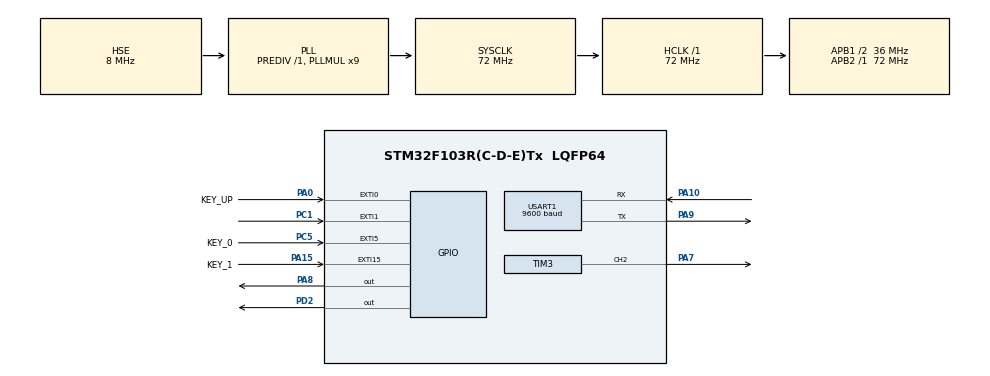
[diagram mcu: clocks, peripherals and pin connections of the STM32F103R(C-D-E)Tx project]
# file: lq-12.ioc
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Mcu.Family=STM32F1
Mcu.Name=STM32F103R(C-D-E)Tx
Mcu.Package=LQFP64
NVIC.EXTI0_IRQn=true\:1\:0\:true\:false\:true\:true\:true\:true
NVIC.EXTI15_10_IRQn=true\:1\:0\:true\:false\:true\:true\:true\:true
NVIC.EXTI1_IRQn=true\:1\:0\:true\:false\:true\:true\:true\:true
NVIC.EXTI9_5_IRQn=true\:1\:0\:true\:false\:true\:true\:true\:true
NVIC.PriorityGroup=NVIC_PRIORITYGROUP_4
NVIC.USART1_IRQn=true\:1\:0\:true\:false\:true\:true\:true\:true
PA0-WKUP.GPIO_Label=KEY_UP
PA0-WKUP.GPIO_PuPd=GPIO_PULLDOWN
PA0-WKUP.Signal=GPXTI0
PA10.Mode=Asynchronous
PA10.Signal=USART1_RX
PA13.Mode=Serial_Wire
PA13.Signal=SYS_JTMS-SWDIO
PA14.Mode=Serial_Wire
PA14.Signal=SYS_JTCK-SWCLK
PA15.GPIO_Label=KEY_1
PA15.GPIO_ModeDefaultEXTI=GPIO_MODE_IT_FALLING
PA15.GPIO_PuPd=GPIO_PULLUP
PA15.Signal=GPXTI15
PA7.Signal=S_TIM3_CH2
PA8.Signal=GPIO_Output
PA9.Mode=Asynchronous
PA9.Signal=USART1_TX
PC1.GPIO_ModeDefaultEXTI=GPIO_MODE_IT_FALLING
PC1.GPIO_PuPd=GPIO_PULLUP
PC1.Signal=GPXTI1
PC5.GPIO_Label=KEY_0
PC5.GPIO_ModeDefaultEXTI=GPIO_MODE_IT_FALLING
PC5.GPIO_PuPd=GPIO_PULLUP
PC5.Signal=GPXTI5
PD0-OSC_IN.Mode=HSE-External-Oscillator
PD0-OSC_IN.Signal=RCC_OSC_IN
PD1-OSC_OUT.Mode=HSE-External-Oscillator
PD1-OSC_OUT.Signal=RCC_OSC_OUT
PD2.Signal=GPIO_Output
ProjectManager.HeapSize=0x200
ProjectManager.StackSize=0x400
ProjectManager.TargetToolchain=MDK-ARM V5
RCC.AHBFreq_Value=72000000
RCC.APB1CLKDivider=RCC_HCLK_DIV2
RCC.APB1Freq_Value=36000000
RCC.APB1TimFreq_Value=72000000
RCC.APB2Freq_Value=72000000
RCC.APB2TimFreq_Value=72000000
RCC.HCLKFreq_Value=72000000
RCC.PLLMUL=RCC_PLL_MUL9
RCC.PLLSourceVirtual=RCC_PLLSOURCE_HSE
RCC.SYSCLKFreq_VALUE=72000000
RCC.SYSCLKSource=RCC_SYSCLKSOURCE_PLLCLK
RCC.USBFreq_Value=72000000
SH.S_TIM3_CH2.0=TIM3_CH2,PWM Generation2 CH2
TIM3.AutoReloadPreload=TIM_AUTORELOAD_PRELOAD_ENABLE
TIM3.Channel-PWM\ Generation2\ CH2=TIM_CHANNEL_2
TIM3.OCMode_PWM-PWM\ Generation2\ CH2=TIM_OCMODE_PWM2
TIM3.Period=499
TIM3.Prescaler=71
USART1.BaudRate=9600
USART1.VirtualMode=VM_ASYNC
VP_TIM3_VS_ClockSourceINT.Mode=Internal
board=custom

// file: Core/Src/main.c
/* USER CODE BEGIN Header */
/**
  ******************************************************************************
  * @file           : main.c
  * @brief          : Main program body
  ******************************************************************************
  * @attention
  *
  * Copyright (c) 2023 STMicroelectronics.
  * All rights reserved.
  *
  * This software is licensed under terms that can be found in the LICENSE file
  * in the root directory of this software component.
  * If no LICENSE file comes with this software, it is provided AS-IS.
  *
  ******************************************************************************
  */
/* USER CODE END Header */
#include "main.h"
#include "tim.h"
#include "usart.h"
#include "gpio.h"

/* USER CODE BEGIN Includes */
#include <stdio.h>
#include <time.h>
#include <string.h>
#include "LCD/lcd.h"
/* USER CODE END Includes */

/* USER CODE BEGIN PTD */
typedef struct {
	uint8_t type;
	uint8_t code[5];
	time_t  time;
}Car;
/* USER CODE END PTD */

/* USER CODE BEGIN PM */
#define PwmEnable() 	{__HAL_TIM_SetCompare(&htim3, TIM_CHANNEL_2, 399);\
											HAL_GPIO_WritePin(GPIOA, GPIO_PIN_8, GPIO_PIN_RESET);}

#define PwmDisable()	{__HAL_TIM_SetCompare(&htim3, TIM_CHANNEL_2, 511);\
											HAL_GPIO_WritePin(GPIOA, GPIO_PIN_8, GPIO_PIN_SET);}

#define cnDspl()			{sprintf(buf, "%d  ", cnbr);\
											LCD_ShowString(100, 120,  50, 20, 16, (uint8_t *)buf);\
											memset(buf, 0, 32);}

#define vnDspl()			{sprintf(buf, "%d  ", vnbr);\
											LCD_ShowString(100, 140,  50, 20, 16, (uint8_t *)buf);\
											memset(buf, 0, 32);}

#define idDspl()			{sprintf(buf, "%d  ", idle);\
											LCD_ShowString(100, 160,  50, 20, 16, (uint8_t *)buf);\
											memset(buf, 0, 32);}

#define cpDspl()			{sprintf(buf, "%.2f  ", cPrice);\
											LCD_ShowString(100, 120,  50, 20, 16, (uint8_t *)buf);\
											memset(buf, 0, 32);}

#define vpDspl()			{sprintf(buf, "%.2f  ", vPrice);\
											LCD_ShowString(100, 140,  50, 20, 16, (uint8_t *)buf);\
											memset(buf, 0, 32);}

#define rerender() 		{LCD_Clear(BLACK);\
											LCD_ShowString( 50, 120,  50, 20, 16, (uint8_t *)"CNBR:");\
											LCD_ShowString( 50, 140,  50, 20, 16, (uint8_t *)"VNBR:");\
											if(paraInterface) {\
												LCD_ShowString(100, 100, 100, 20, 16, (uint8_t *)"Para");\
												vpDspl();\
												cpDspl();\
											}\
											else {\
												LCD_ShowString(100, 100, 100, 20, 16, (uint8_t *)"Data");\
												LCD_ShowString( 50, 160,  50, 20, 16, (uint8_t *)"IDLE:");\
												cnDspl();\
												vnDspl();\
												idDspl();\
											}\
											if(idle > 0) HAL_GPIO_WritePin(GPIOD, GPIO_PIN_2, GPIO_PIN_RESET);\
											else HAL_GPIO_WritePin(GPIOD, GPIO_PIN_2, GPIO_PIN_SET);}

#define err()					HAL_UART_Transmit(&huart1, (uint8_t *)"Error", 6, 0xFFFF);\
											memset(buf, 0, 32);

/* USER CODE END PM */

/* USER CODE BEGIN PV */

char paraInterface = 0;
char cnbr = 2, vnbr = 4, idle = 2;
char pwnOn = 1;
float cPrice = 3.5, vPrice = 2.0;
static char buf[32] = {0};
uint8_t rx[23] = {0};
uint8_t *rxType = rx;
uint8_t *rxCode = rx + 5;
uint8_t *rxTime = rx + 10;
Car park[8];
int occupied = 0;

/* USER CODE END PV */

void SystemClock_Config(void);
/* USER CODE BEGIN PFP */

extern void delay_init(uint8_t);
//extern void *memset(void *, int, size_t);
void HAL_GPIO_EXTI_Callback(uint16_t GPIO_Pin);
void HAL_UART_RxCpltCallback(UART_HandleTypeDef *huart);
time_t parseTime(void);

/* USER CODE END PFP */

int main(void)
{

  /* MCU Configuration--------------------------------------------------------*/

  /* Reset of all peripherals, Initializes the Flash interface and the Systick. */
  HAL_Init();

  /* Configure the system clock */
  SystemClock_Config();

  /* Initialize all configured peripherals */
  MX_GPIO_Init();
  MX_TIM3_Init();
  MX_USART1_UART_Init();
  /* USER CODE BEGIN 2 */

	HAL_TIM_PWM_Start(&htim3, TIM_CHANNEL_2);
	PwmDisable();

	HAL_UART_Receive_IT(&huart1, rx, 22);

	delay_init(72);
	LCD_Init();
	BACK_COLOR = BLACK;
	POINT_COLOR= WHITE;
	rerender();

  /* USER CODE END 2 */

  /* Infinite loop */
  while (1)
  {

  }
}

void SystemClock_Config(void)
{
  RCC_OscInitTypeDef RCC_OscInitStruct = {0};
  RCC_ClkInitTypeDef RCC_ClkInitStruct = {0};

  /** Initializes the RCC Oscillators according to the specified parameters
  * in the RCC_OscInitTypeDef structure.
  */
  RCC_OscInitStruct.OscillatorType = RCC_OSCILLATORTYPE_HSE;
  RCC_OscInitStruct.HSEState = RCC_HSE_ON;
  RCC_OscInitStruct.HSEPredivValue = RCC_HSE_PREDIV_DIV1;
  RCC_OscInitStruct.HSIState = RCC_HSI_ON;
  RCC_OscInitStruct.PLL.PLLState = RCC_PLL_ON;
  RCC_OscInitStruct.PLL.PLLSource = RCC_PLLSOURCE_HSE;
  RCC_OscInitStruct.PLL.PLLMUL = RCC_PLL_MUL9;
  if (HAL_RCC_OscConfig(&RCC_OscInitStruct) != HAL_OK)
  {
    Error_Handler();
  }

  /** Initializes the CPU, AHB and APB buses clocks
  */
  RCC_ClkInitStruct.ClockType = RCC_CLOCKTYPE_HCLK|RCC_CLOCKTYPE_SYSCLK
                              |RCC_CLOCKTYPE_PCLK1|RCC_CLOCKTYPE_PCLK2;
  RCC_ClkInitStruct.SYSCLKSource = RCC_SYSCLKSOURCE_PLLCLK;
  RCC_ClkInitStruct.AHBCLKDivider = RCC_SYSCLK_DIV1;
  RCC_ClkInitStruct.APB1CLKDivider = RCC_HCLK_DIV2;
  RCC_ClkInitStruct.APB2CLKDivider = RCC_HCLK_DIV1;

  if (HAL_RCC_ClockConfig(&RCC_ClkInitStruct, FLASH_LATENCY_2) != HAL_OK)
  {
    Error_Handler();
  }
}

/* USER CODE BEGIN 4 */
void HAL_GPIO_EXTI_Callback(uint16_t GPIO_Pin) {
	switch(GPIO_Pin) {
		case GPIO_PIN_0: // interface
			HAL_Delay(20);
			if(HAL_GPIO_ReadPin(GPIOA, GPIO_PIN_0) != GPIO_PIN_SET) return;
			paraInterface = !paraInterface;
			rerender();
			break;
		case GPIO_PIN_15:// +
			if(!paraInterface) return;
			HAL_Delay(20);
			if(HAL_GPIO_ReadPin(GPIOA, GPIO_PIN_15) != GPIO_PIN_RESET) return;
			vPrice += .5;
			cPrice += .5;
			vpDspl();
			cpDspl();
			break;
		case GPIO_PIN_5: // -
			if(!paraInterface) return;
			HAL_Delay(20);
			if(HAL_GPIO_ReadPin(GPIOC, GPIO_PIN_5) != GPIO_PIN_RESET) return;
			vPrice -= .5;
			cPrice -= .5;
			vpDspl();
			cpDspl();
			break;
		case GPIO_PIN_1: // ctrl
			HAL_Delay(100);
			if(HAL_GPIO_ReadPin(GPIOC, GPIO_PIN_1) != GPIO_PIN_RESET) return;
			pwnOn = !pwnOn;
			if(pwnOn) {PwmEnable();}
			else PwmDisable();
			break;
	}
}

void HAL_UART_RxCpltCallback(UART_HandleTypeDef *huart) {
	if(rx[4] != ':' || rx[9] != ':') {
		err();
		goto ret;
	}
	rx[ 4] = 0;
	rx[ 9] = 0;
	rx[22] = 0;
	//uint8_t code[5] = {0};
	//strcpy((char *)code, (char *)rxCode);
	for(int i = 0; i < occupied; i++) {
		if(strcmp((char *)rxCode, (char *)&park[i].code) == 0) { //exiting
			time_t current = parseTime();
			if(current == (time_t)-1 || current <= park[i].time) {
				err();
				goto ret;
			}
			int hrs = difftime(current, park[i].time) / 3600 + 1;
			if(hrs == 0) {
				err();
				goto ret;
			}
			sprintf(buf, "%s:%s:%d:%.2f", *rxType == 'C' ? "CNBT" : "VNBT", rxCode, hrs, hrs * (*rxType == 'C' ? cPrice : vPrice));
			HAL_UART_Transmit(&huart1, (uint8_t *)buf, strlen(buf) + 1, 0xFFFF);
			memset(buf, 0, 32);
			--occupied;
			++idle;
			if(*rxType == 'C') --cnbr;
			else --vnbr;
			rerender();
			for(int j = i; j < occupied; j++) park[j] = park[j+1];
			goto ret;
		}
	}
	if(idle < 1 || (rx[0] == 'C' && cnbr < 1) || (rx[0] == 'V' && vnbr < 1)) { // park full
		err();
		goto ret;
	}
	Car nextCar;
	nextCar.type = rx[0];
	strcpy((char *)nextCar.code, (char *)rxCode);
	nextCar.time = parseTime();
	park[occupied++] = nextCar; // add new car to park
	--idle;
	if(*rxType == 'C') ++cnbr;
	else ++vnbr;
	rerender();
	ret:;
	HAL_UART_Receive_IT(&huart1, rx, 22);
}

inline time_t parseTime() {
	struct tm time;
	time.tm_isdst = 0;
	int temp = 0;
	uint8_t *ptr = rxTime;
	for(char i = 0; i < 2; i++) temp = (temp << 3) + (temp << 1) + *ptr++ - '0';
	//time.tm_year = temp + 100;
	time.tm_year = temp;
	temp = 0;
	for(char i = 0; i < 2; i++) temp = (temp << 3) + (temp << 1) + *ptr++ - '0';
	time.tm_mon = temp;
	temp = 0;
	for(char i = 0; i < 2; i++) temp = (temp << 3) + (temp << 1) + *ptr++ - '0';
	time.tm_mday = temp;
	temp = 0;
	for(char i = 0; i < 2; i++) temp = (temp << 3) + (temp << 1) + *ptr++ - '0';
	time.tm_hour = temp;
	temp = 0;
	for(char i = 0; i < 2; i++) temp = (temp << 3) + (temp << 1) + *ptr++ - '0';
	time.tm_min = temp;
	temp = 0;
	for(char i = 0; i < 2; i++) temp = (temp << 3) + (temp << 1) + *ptr++ - '0';
	time.tm_sec = temp;
	return mktime(&time);
}

/* USER CODE END 4 */

void Error_Handler(void)
{
  __disable_irq();
  while (1)
  {
  }
}
